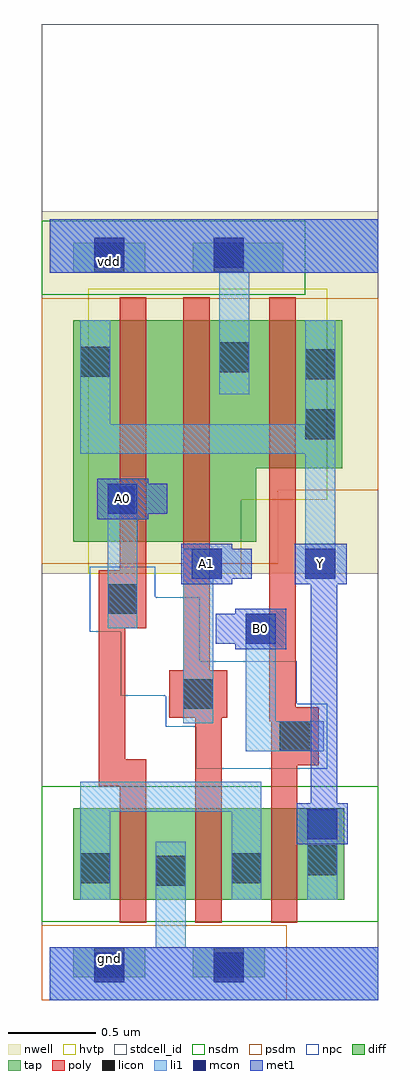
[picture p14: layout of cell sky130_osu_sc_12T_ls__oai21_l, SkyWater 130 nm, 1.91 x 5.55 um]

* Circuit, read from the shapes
.subckt sky130_osu_sc_12T_ls__oai21_l A0 A1 B0 Y gnd vdd
XM1 gnd A0 n1 gnd sky130_fd_pr__nfet_01v8 w=0.52 l=0.15
XM2 n1 A1 gnd gnd sky130_fd_pr__nfet_01v8 w=0.52 l=0.15
XM3 Y B0 n1 gnd sky130_fd_pr__nfet_01v8 w=0.52 l=0.15
XM4 n2 A0 Y vdd sky130_fd_pr__pfet_01v8_hvt w=1.26 l=0.15
XM5 vdd A1 n2 vdd sky130_fd_pr__pfet_01v8_hvt w=1.26 l=0.15
XM6 Y B0 vdd vdd sky130_fd_pr__pfet_01v8_hvt w=0.84 l=0.15
.ends

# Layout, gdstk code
import gdstk
lib = gdstk.Library(unit=1e-6, precision=1e-09)
def R(c, l, rs):  # rectangles x0, y0, x1, y1
    for r in rs: c.add(gdstk.rectangle(r[:2], r[2:], *l))
nwell = (64, 20)
diff = (65, 20)
tap = (65, 44)
poly = (66, 20)
licon = (66, 44)
li1 = (67, 20)
mcon = (67, 44)
met1 = (68, 20)
hvtp = (78, 44)
stdcell_id = (81, 4)
nsdm = (93, 44)
psdm = (94, 20)
npc = (95, 20)

sky130_osu_sc_12t_ls__oa = lib.new_cell('sky130_osu_sc_12T_ls__oai21_l')
R(sky130_osu_sc_12t_ls__oa, nwell, [(-0.045,2.425,1.87,4.485)])
R(sky130_osu_sc_12t_ls__oa, diff, [(0.135,0.57,1.675,1.09), (0.135,2.605,1.175,3.025), (0.135,3.025,1.665,3.865)])
R(sky130_osu_sc_12t_ls__oa, tap, [(0.135,0.13,0.545,0.3), (0.815,0.13,1.225,0.3), (0.135,4.135,0.545,4.305), (0.815,4.135,1.33,4.305)])
R(sky130_osu_sc_12t_ls__oa, poly, [(0.4,0.44,0.55,1.215), (0.83,0.44,0.98,1.605), (1.26,0.44,1.41,1.335), (0.28,1.215,0.55,1.37), (1.26,1.335,1.53,1.585), (0.28,1.37,0.43,2.115), (1.25,1.585,1.53,1.665), (0.68,1.605,1.01,1.875), (1.25,1.665,1.4,3.995), (0.76,1.875,0.91,3.995), (0.28,2.115,0.55,2.445), (0.4,2.445,0.55,3.995)])
R(sky130_osu_sc_12t_ls__oa, licon, [(0.255,0.13,0.425,0.3), (0.935,0.13,1.105,0.3), (0.605,0.65,0.775,0.82), (0.175,0.665,0.345,0.835), (1.035,0.665,1.205,0.835), (1.465,0.71,1.635,0.88), (1.31,1.415,1.48,1.585), (0.76,1.655,0.93,1.825), (0.33,2.195,0.5,2.365), (1.455,3.19,1.625,3.36), (1.455,3.53,1.625,3.7), (0.175,3.545,0.345,3.715), (0.965,3.57,1.135,3.74), (0.255,4.135,0.425,4.305), (0.935,4.135,1.105,4.305)])
R(sky130_osu_sc_12t_ls__oa, li1, [(0,0,1.87,0.3), (0.605,0.3,0.775,0.9), (0.175,0.57,0.345,1.07), (1.035,0.57,1.205,1.07), (1.465,0.57,1.635,1.085), (0.175,1.07,1.205,1.24), (1.115,1.415,1.56,1.585), (0.76,1.575,0.93,2.395), (1.115,1.585,1.285,2.195), (0.33,2.115,0.5,2.935), (0.76,2.395,0.98,2.565), (1.455,2.395,1.625,3.105), (0.175,3.105,1.625,3.275), (0.175,3.275,0.345,3.865), (1.455,3.275,1.625,3.865), (0.965,3.445,1.135,4.135), (0,4.135,1.87,4.44)])
R(sky130_osu_sc_12t_ls__oa, mcon, [(0.255,0.1,0.425,0.27), (0.935,0.1,1.105,0.27), (1.465,0.915,1.635,1.085), (1.115,2.025,1.285,2.195), (0.81,2.395,0.98,2.565), (1.455,2.395,1.625,2.565), (0.33,2.765,0.5,2.935), (0.255,4.165,0.425,4.335), (0.935,4.165,1.105,4.335)])
R(sky130_osu_sc_12t_ls__oa, met1, [(0,0,1.87,0.3), (1.405,0.885,1.695,1.12), (1.485,1.12,1.635,2.365), (1.055,1.995,1.345,2.025), (0.945,2.025,1.345,2.195), (1.055,2.195,1.345,2.225), (0.75,2.365,1.04,2.395), (1.395,2.365,1.69,2.595), (0.75,2.395,1.15,2.565), (0.75,2.565,1.04,2.595), (0.27,2.735,0.56,2.765), (0.27,2.765,0.67,2.935), (0.27,2.935,0.56,2.965), (0,4.135,1.87,4.44)])
R(sky130_osu_sc_12t_ls__oa, hvtp, [(0.22,2.425,1.09,2.845), (0.22,2.845,1.58,4.045)])
R(sky130_osu_sc_12t_ls__oa, stdcell_id, [(-0.045,0,1.87,5.55)])
R(sky130_osu_sc_12t_ls__oa, nsdm, [(-0.045,0.445,1.87,1.215), (-0.045,4.01,1.455,4.43)])
R(sky130_osu_sc_12t_ls__oa, psdm, [(-0.045,0,1.35,0.425), (-0.045,2.48,1.3,2.9), (-0.045,2.9,1.87,3.99)])
R(sky130_osu_sc_12t_ls__oa, npc, [(0.835,1.315,1.58,1.555), (0.66,1.555,1.58,1.685), (0.66,1.685,1.405,1.73), (0.405,1.73,1.405,1.925), (0.405,1.925,0.855,2.095), (0.23,2.095,0.855,2.29), (0.23,2.29,0.6,2.465)])
sky130_osu_sc_12t_ls__oa.add(gdstk.Label('gnd', (0.34,0.235), layer=68, texttype=16))
sky130_osu_sc_12t_ls__oa.add(gdstk.Label('vdd', (0.34,4.2), layer=68, texttype=16))
sky130_osu_sc_12t_ls__oa.add(gdstk.Label('A0', (0.415,2.85), layer=68, texttype=5))
sky130_osu_sc_12t_ls__oa.add(gdstk.Label('A1', (0.895,2.48), layer=68, texttype=5))
sky130_osu_sc_12t_ls__oa.add(gdstk.Label('B0', (1.2,2.11), layer=68, texttype=5))
sky130_osu_sc_12t_ls__oa.add(gdstk.Label('Y', (1.54,2.48), layer=68, texttype=5))

lib.write_gds('sky130_osu_sc_12T_ls__oai21_l.gds')
